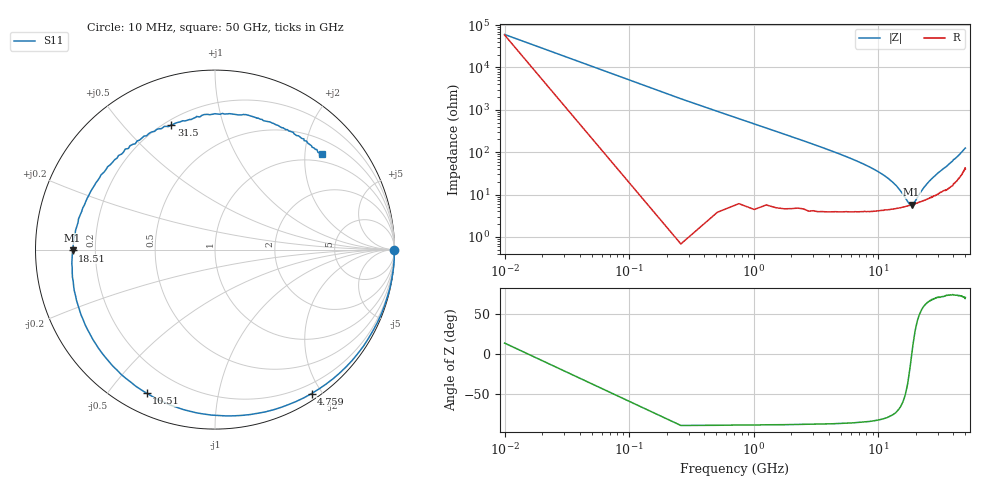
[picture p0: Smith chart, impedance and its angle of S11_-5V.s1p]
!Agilent Technologies,N5227A,US51270434,A.10.00.00
!Agilent N5227A: A.10.00.00
!Date: Thursday, February 26, 2026 11:56:01
!Correction: S11(Full 1 Port(1))
!S1P File: Measurement: S11:
# Hz S  dB  R 50
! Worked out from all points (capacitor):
!   201 points, 10 MHz to 50 GHz, reference 50 ohm
!   read as one part to ground: C = 338 fF near 259.9 MHz
!   lowest |Z| = 5.75 ohm at 18.51 GHz (marker M1)
!   series resonance near 18.56 GHz, so ESL is about 220 pH
!   S11 on the Smith chart (normalised r, x): 10 MHz: open; 4.759 GHz: 0.08, -1.87; 10.51 GHz: 0.08, -0.63; 18.51 GHz: 0.11, -0.00; 31.5 GHz: 0.23, +0.68; 50 GHz: 0.81, +2.38
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1e7  -0.01 0.0
1.0098e9  -0.02 -12.2
2.25955e9  -0.09 -27.2
3.5093e9  -0.18 -41.8
4.75905e9  -0.30 -56.1
6.25875e9  -0.48 -72.8
7.25855e9  -0.61 -83.4
8.25835e9  -0.74 -93.6
1.05079e10  -1.05 -115.5
1.25075e10  -1.32 -133.4
1.425715e10  -1.53 -148.1
1.525695e10  -1.65 -155.9
1.70066e10  -1.84 -169.1
1.85063e10  -2.01 -179.7
1.875625e10  -2.04 178.6
2.175565e10  -2.29 159.4
2.5005e10  -2.49 140.9
2.875425e10  -2.55 122.0
3.125375e10  -2.70 110.7
3.15037e10  -2.66 109.3
3.525295e10  -2.44 94.6
3.75025e10  -2.39 84.6
3.95021e10  -2.25 77.1
4.0002e10  -2.27 73.2
4.375125e10  -2.22 61.3
4.675065e10  -2.04 51.2
4.975005e10  -2.12 41.9
5e10  -1.95 41.9
